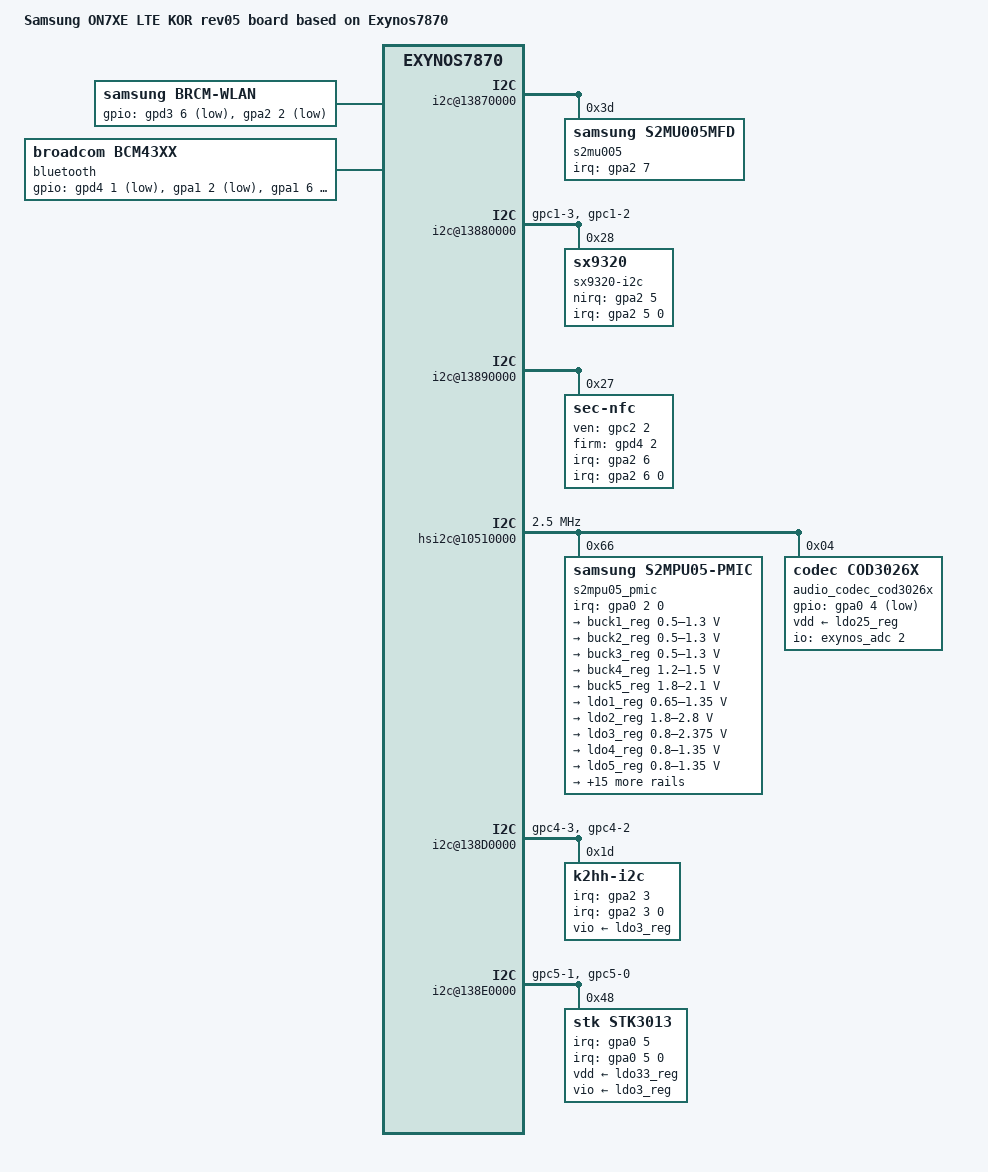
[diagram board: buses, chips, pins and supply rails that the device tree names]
/*
 * SAMSUNG UNIVERSAL8890 board device tree source
 *
 * Copyright (c) 2013 Samsung Electronics Co., Ltd.
 *		http://www.samsung.com
 *
 * This program is free software; you can redistribute it and/or modify
 * it under the terms of the GNU General Public License version 2 as
 * published by the Free Software Foundation.
*/

/dts-v1/;
#include "exynos7870-on7xelte_common.dtsi"
#include "modem-ss315ap-pdata.dtsi"
#include "exynos7870-on7xelte_kor_skt_gpio_05.dtsi"
#include "exynos7870-on7xelte_kor_open_battery_00.dtsi"
#include "exynos7870-on7xelte_fingerprint-sensor_02.dtsi"
#include "exynos7870-on7xelte_kor-tdmb_01.dtsi"

/ {
	model = "Samsung ON7XE LTE KOR rev05 board based on Exynos7870";
        model_info-chip = <7870>;
        model_info-platform = "android";
        model_info-subtype = "samsung";
        model_info-hw_rev = <5>;
        model_info-hw_rev_end = <255>;
	compatible = "samsung, ON7XE LTE KOR SKT 05", "samsung,exynos7870";

	i2c@13870000 {
		status = "okay";
		samsung,i2c-sda-delay = <100>;
		samsung,i2c-max-bus-freq = <400000>;

		s2mu005@3d {
			compatible = "samsung,s2mu005mfd";
			reg = <0x3d>;
			pinctrl-names = "default";
			pinctrl-0 = <&if_pmic_irq>;
			s2mu005,irq-gpio = <&gpa2 7 0>;
			s2mu005,wakeup;

			leds {
				flash-gpio = <&gpd3 2 0>;
				torch-gpio = <&gpd3 3 0>;

				flash_current = <1200>;
				preflash_current = <150>;
				movie_current = <175>; /*unused*/
				torch_current = <75>;
				factory_current = <300>;
				front_torch_current = <50>;

				status = "okay";
				s2mu005-leds1 {
					ledname = "leds-sec1";
					id = <0>;
					timeout = <15>; /* use gpio */
				};

				s2mu005-leds2 {
					ledname = "leds-sec2";
					id = <1>;
					timeout = <15>; /* use gpio */
				};
			};
			
			leds-rgb {
				led_current_tuning_count = <3>; 	/* Number of Supported Panel Tuning */
				led_current_tuning = <
					0x0D6020  	/* LCD ID: Gold Color */
					0x28 0x07 0x20   /* B G R LED MAX current for Normal Mode */
					0x28 0x07 0x20   /* B G R LED MAX current for Low power mode */
					0x0D6120  	/* White Color */
					0x27 0x07 0x1E 
					0x27 0x07 0x1E 
					0x0D6220  	/* Black Color */
					0x5C 0x0D 0x28 
					0x5C 0x0D 0x28
					>;
			};
		};
	};

	i2c@13880000 {
		samsung,i2c-sda-delay = <100>;
		samsung,i2c-max-bus-freq = <400000>;
		#address-cells = <1>;
		#size-cells = <0>;
		status = "okay";
		pinctrl-names = "default";
		pinctrl-0 = <&grip_i2c>;
		sx9320-i2c@28 {
			compatible = "sx9320";
			reg = <0x28>;
			status = "okay";
			pinctrl-names = "default";
			pinctrl-0 = <&grip_irq>;
			interrupt-parent = <&gpa2>;
			interrupts = <5 0 0>;

			/* only phase 3 enable */
			sx9320,phen = <0x03>;
			sx9320,nirq-gpio = <&gpa2 5 0x00>;
			sx9320,gain = <0x01>;
			sx9320,again = <0x08>;
			sx9320,scan_period = <0x16>;
			sx9320,range = <0x00>;
			sx9320,sampling_freq = <0x08>;
			sx9320,resolution = <0x04>;
			sx9320,rawfilt = <0x01>;
			sx9320,hyst = <0x02>;
			sx9320,avgposfilt = <0x03>;
			sx9320,avgnegfilt = <0x01>;
			sx9320,avgthresh = <0x20>;
			sx9320,normal_thd = <0x2c>;
		};
	};
	
	i2c@13890000{
		samsung,i2c-sda-delay = <100>;
		samsung,i2c-max-bus-freq = <300000>;
		status = "okay";
		#address-cells = <1>;
		#size-cells = <0>;

		sec-nfc@27 {
			compatible = "sec-nfc";
			reg = <0x27>;
			interrupts = <6 0 0>;
			interrupt-parent = <&gpa2>;
			sec-nfc,ven-gpio = <&gpc2 2 0x2>;
			sec-nfc,firm-gpio = <&gpd4 2 0>;
			sec-nfc,irq-gpio = <&gpa2 6 0>;
			clkctrl-reg = <0x1048600C>;
			sec-nfc,nfc_clkreq = <&gpc2 3 0x2>;
			sec-nfc,pvdd_en = <&gpd2 1 0>;
			sec-nfc,check_nfc = <&gpd1 2 0x0>;
			pinctrl-names = "default";
			pinctrl-0 = <&nfc_n5_firm &nfc_n5_clk_req &nfc_pd &nfc_int &ese_pvdd_en &nfc_pvdd_en &nfc_det>;
		};
	};

	but_zones: but_zones {
		#list-but-cells = <3>;
	};

	hsi2c@10510000 {
		status = "okay";
		samsung,hs-mode;
		clock-frequency = <2500000>;
		samsung,hsi2c-batcher;
		#address-cells = <1>;
		#size-cells = <0>;

		s2mpu05_pmic@66 {
			compatible = "samsung,s2mpu05-pmic";
			reg = <0x66>;
			ten-bit-address;
			interrupts = <2 0 0>;
			interrupt-parent = <&gpa0>;
			pinctrl-names = "default";
			pinctrl-0 = <&pmic_irq &pm_wrsti>;
			g3d_en = <1>; /* 1 : enable , 0 : disable */
			buck2en_pin = "etc1-3";
			buck2en_addr = "139B0080.pinctrl";
			/* RTC: wtsr/smpl */
			wtsr_en = <1>; /* enable */
			smpl_en = <1>; /* enable */
			wtsr_timer_val = <3>;   /* 1000ms */
			smpl_timer_val = <0>;   /* 100ms */
			check_jigon = <0>; /* do not check jigon */
			/* RTC: If it's first boot, reset rtc to 1/1/2016 12:00:00(Fri) */
			init_time,sec = <0>;
			init_time,min = <0>;
			init_time,hour = <12>;
			init_time,mday = <1>;
			init_time,mon = <0>;
			init_time,year = <116>;
			init_time,wday = <5>;

			regulators {
				buck1_reg: BUCK1 {
					regulator-name = "BUCK1";
					regulator-min-microvolt = <500000>;
					regulator-max-microvolt = <1300000>;
					regulator-always-on;
					regulator-boot-on;
					regulator-ramp-delay = <12000>;
					regulator-initial-mode = <1>;
					regulator-expected-consumer = <2>;
				};

				buck2_reg: BUCK2 {
					regulator-name = "BUCK2";
					regulator-min-microvolt = <500000>;
					regulator-max-microvolt = <1300000>;
					regulator-always-on;
					regulator-boot-on;
					regulator-ramp-delay = <12000>;
					regulator-initial-mode = <2>;		/* MIF mode */
					regulator-expected-consumer = <4>;
				};

				buck3_reg: BUCK3 {
					regulator-name = "BUCK3";
					regulator-min-microvolt = <500000>;
					regulator-max-microvolt = <1300000>;
					regulator-always-on;
					regulator-boot-on;
					regulator-ramp-delay = <12000>;
					regulator-initial-mode = <2>;
				};

				buck4_reg: BUCK4 {
					regulator-name = "BUCK4";
					regulator-min-microvolt = <1200000>;
					regulator-max-microvolt = <1500000>;
					regulator-always-on;
					regulator-boot-on;
					regulator-ramp-delay = <12000>;
					regulator-initial-mode = <2>;
				};

				buck5_reg: BUCK5 {
					regulator-name = "BUCK5";
					regulator-min-microvolt = <1800000>;
					regulator-max-microvolt = <2100000>;
					regulator-always-on;
					regulator-boot-on;
					regulator-ramp-delay = <12000>;
					regulator-initial-mode = <2>;
				};

				ldo1_reg: LDO1 {
					regulator-name = "vdd_ldo1";
					regulator-min-microvolt = <650000>;
					regulator-max-microvolt = <1350000>;
					regulator-always-on;
					regulator-boot-on;
					regulator-ramp-delay = <12000>;
					regulator-initial-mode = <3>;
				};

				ldo2_reg: LDO2 {
					regulator-name = "vqmmc";
					regulator-min-microvolt = <1800000>;
					regulator-max-microvolt = <2800000>;
					regulator-ramp-delay = <12000>;
					regulator-initial-mode = <0>;
				};

				ldo3_reg: LDO3 {
					regulator-name = "vdd_ldo3";
					regulator-min-microvolt = <800000>;
					regulator-max-microvolt = <2375000>;
					regulator-boot-on;
					regulator-always-on;
					regulator-ramp-delay = <12000>;
					regulator-initial-mode = <3>;
				};

				ldo4_reg: LDO4 {
					regulator-name = "vdd_ldo4";
					regulator-min-microvolt = <800000>;
					regulator-max-microvolt = <1350000>;
					regulator-boot-on;
					regulator-always-on;
					regulator-ramp-delay = <12000>;
					regulator-initial-mode = <1>;
				};

				ldo5_reg: LDO5 {
					regulator-name = "vdd_ldo5";
					regulator-min-microvolt = <800000>;
					regulator-max-microvolt = <1350000>;
					regulator-boot-on;
					regulator-always-on;
					regulator-ramp-delay = <12000>;
					regulator-initial-mode = <3>;
				};

				ldo6_reg: LDO6 {
					regulator-name = "vdd_ldo6";
					regulator-min-microvolt = <800000>;
					regulator-max-microvolt = <1350000>;
					regulator-boot-on;
					regulator-always-on;
					regulator-ramp-delay = <12000>;
					regulator-initial-mode = <1>;
				};

				ldo7_reg: LDO7 {
					regulator-name = "vdd_ldo7";
					regulator-min-microvolt = <800000>;
					regulator-max-microvolt = <2375000>;
					regulator-boot-on;
					regulator-always-on;
					regulator-ramp-delay = <12000>;
					regulator-initial-mode = <1>;
				};

				ldo8_reg: LDO8 {
					regulator-name = "vdd_ldo8";
					regulator-min-microvolt = <1800000>;
					regulator-max-microvolt = <3375000>;
					regulator-boot-on;
					regulator-always-on;
					regulator-ramp-delay = <12000>;
					regulator-initial-mode = <1>;
				};

				ldo9_reg: LDO9 {
					regulator-name = "vdd_ldo9";
					regulator-min-microvolt = <650000>;
					regulator-max-microvolt = <1350000>;
					regulator-always-on;
					regulator-ramp-delay = <12000>;
					regulator-initial-mode = <1>;
				};

				ldo10_reg: LDO10 {
					regulator-name = "vdd_ldo10";
					regulator-min-microvolt = <650000>;
					regulator-max-microvolt = <1350000>;
					regulator-always-on;
					regulator-ramp-delay = <12000>;
					regulator-initial-mode = <1>;
				};

				ldo25_reg: LDO25 {
					regulator-name = "vdd_ldo25";
					regulator-min-microvolt = <800000>;
					regulator-max-microvolt = <2375000>;
					regulator-ramp-delay = <12000>;
					regulator-initial-mode = <1>;
				};

				ldo26_reg: LDO26 {
					regulator-name = "vemmc";
					regulator-min-microvolt = <1800000>;
					regulator-max-microvolt = <3375000>;
					regulator-boot-on;
					regulator-ramp-delay = <12000>;
					regulator-initial-mode = <3>;
				};

				ldo27_reg: LDO27 {
					regulator-name = "vqemmc";
					regulator-min-microvolt = <800000>;
					regulator-max-microvolt = <2375000>;
					regulator-boot-on;
					regulator-ramp-delay = <12000>;
					regulator-initial-mode = <3>;
				};

				ldo29_reg: LDO29 {
					regulator-name = "VDD_CAM_AF_2P8";
					regulator-min-microvolt = <2800000>;
					regulator-max-microvolt = <2800000>;
					regulator-initial-mode = <0>;
				};

				ldo30_reg: LDO30 {
					regulator-name = "LCD_1P8";
					regulator-min-microvolt = <1800000>;
					regulator-max-microvolt = <1800000>;
					regulator-boot-on;
					regulator-ramp-delay = <12000>;
					regulator-initial-mode = <3>;
				};

				ldo31_reg: LDO31 {
					regulator-name = "vdd_ldo31";
					regulator-min-microvolt = <2800000>;
					regulator-max-microvolt = <2800000>;
					regulator-boot-on;
					regulator-always-on;
					regulator-ramp-delay = <12000>;
					regulator-initial-mode = <3>;
				};

				ldo32_reg: LDO32 {
					regulator-name = "VDD_MOTOR_3.3";
					regulator-min-microvolt = <3300000>;
					regulator-max-microvolt = <3300000>;
					regulator-ramp-delay = <12000>;
				};

				ldo33_reg: LDO33 {
					regulator-name = "vdd_sensor_3p3";
					regulator-min-microvolt = <3300000>;
					regulator-max-microvolt = <3300000>;
					regulator-ramp-delay = <12000>;
					regulator-initial-mode = <3>;
				};

				ldo34_reg: LDO34 {
					regulator-name = "touchkey_3p0";
					regulator-min-microvolt = <3000000>;
					regulator-max-microvolt = <3000000>;
					regulator-ramp-delay = <12000>;
					regulator-initial-mode = <1>;
					regulator-boot-on;
				};

				ldo35_reg: LDO35 {
					regulator-name = "VDD_CAM_SENSOR_A2P8";
					regulator-min-microvolt = <2800000>;
					regulator-max-microvolt = <2800000>;
					regulator-initial-mode = <0>;
				};
			};
		};

		audio_codec_cod3026x: cod3026x@04 {
			compatible = "codec,cod3026x";
			reg = <0x04>;
			ten-bit-address;
			vdd-supply = <&ldo25_reg>;
			pinctrl-names = "default";
			pinctrl-0 = <&cod3026_irq>;
			interrupt-parent = <&gpa0>;
			gpios = <&gpa0 4 0xf>;
			mic-bias1-voltage = <1>;
			mic-bias2-voltage = <1>;
			mic-bias-ldo-voltage = <3>;
			use-det-adc-mode;
			io-channels = <&exynos_adc 2>;
			io-channel-names = "adc-jack";
			#io-channel-cells = <1>;
			io-channel-ranges;
			but-zones-list = <&but_zones 226 0 200>, /* send/end */
					<&but_zones 582 201 290>, /* google */
					<&but_zones 115 291 496>, /* vol up */
					<&but_zones 114 497 1000>; /* vol down */
			mic-adc-range = <1350>;
		};
	};

	wlan {
		compatible = "samsung,brcm-wlan";
		gpios = <&gpd3 6 0x1 /* WLAN_EN */
		&gpa2 2 0x1 /* WLAN HOST WAKE GPIO_0 */>;
		pinctrl-names = "default";
		pinctrl-0 = <&cfg_wlanen &cfg_wlanhostwake>;
		status = "okay";
	};


	bluetooth {
		compatible = "broadcom,bcm43xx";
		gpios = <&gpd4 1 0x1	/*BT_EN*/
                         &gpa1 2 0x1	/*BT_WAKE*/
                         &gpa1 6 0xF	/*BT_HOST_WAKE*/ >;
		pinctrl-names = "default";
		pinctrl-0=<&bt_hostwake &bt_btwake &bt_en>;
		status = "okay";
	};

	pinctrl@139F0000 {
		acc_int: acc_int {
			samsung,pins = "gpa2-3";
			samsung,pin-function = <0xf>;
			samsung,pin-pud = <0>;
			samsung,pin-drv = <0>;
		};

		prox_int: prox_int {
			samsung,pins = "gpa0-5";
			samsung,pin-function = <0xf>;
			samsung,pin-pud = <0>;
			samsung,pin-drv = <0>;
		};

		grip_irq: grip_irq {
			samsung,pins = "gpa2-5";
			samsung,pin-function = <0xf>;
			samsung,pin-pud = <0>;
			samsung,pin-drv = <0>;
		};

		cfg_wlanhostwake: cfg-wlanhostwake {
			samsung,pins = "gpa2-2";
			samsung,pin-function = <0>;
			samsung,pin-pud = <1>;
		};
	};

	pinctrl@13750000 {
		sd1_bus1: sd1-bus-width1 {
			samsung,pin-pud = <3>;
		};

		sd1_bus4: sd1-bus-width4 {
			samsung,pin-pud = <3>;
		};

	};

	pinctrl@139B0000 {
		sensor_i2c: sensor_i2c {
			samsung,pins = "gpc4-3", "gpc4-2";
			samsung,pin-function = <2>;
			samsung,pin-pud = <0>;
		};

		proxy_i2c: proxy_i2c {
			samsung,pins = "gpc5-1", "gpc5-0";
			samsung,pin-function = <2>;
			samsung,pin-pud = <0>;
		};

		grip_i2c: grip_i2c-bus {
			samsung,pins = "gpc1-3", "gpc1-2";
			samsung,pin-function = <2>;
			samsung,pin-pud = <0>;
		};

		cfg_wlanen: cfg-wlanen  {       /* WLAN_EN */
			samsung,pins = "gpd3-6";
			samsung,pin-function = <1>;
			samsung,pin-pud = <0>;
			samsung,pin-drv = <3>;
			samsung,pin-con-pdn = <3>;
			samsung,pin-pud-pdn = <0>;
			samsung,pin-val = <0>;
		};

		nfc_det: nfc-det {
			samsung,pins = "gpd1-2";
			samsung,pin-function = <0>;
			samsung,pin-pud = <0>;
		};		
	};

	i2c@138D0000 {
		samsung,i2c-sda-delay = <100>;
		samsung,i2c-max-bus-freq = <400000>;
		status = "okay";
		#address-cells = <1>;
		#size-cells = <0>;
		pinctrl-names = "default";
		pinctrl-0 = <&sensor_i2c>;

		k2hh-i2c@1D {
			compatible = "k2hh-i2c";
			reg = <0x1D>;
			pinctrl-names = "default";
			pinctrl-0 = <&acc_int>;
			interrupt-parent = <&gpa2>;
			interrupts = <3 0 0>;
			k2hh,irq_gpio = <&gpa2 3 0>;
			k2hh,vio-supply = <&ldo3_reg>;
			k2hh,axis_map_x = <0>;
			k2hh,axis_map_y = <1>;
			k2hh,axis_map_z = <2>;
			k2hh,negate_x = <1>;
			k2hh,negate_y = <0>;
			k2hh,negate_z = <0>;
			k2hh,poll_interval = <100>;
			k2hh,min_interval = <2>;
		};
	};

	i2c@138E0000 {
		samsung,i2c-sda-delay = <100>;
		samsung,i2c-max-bus-freq = <400000>;
		status = "okay";
		#address-cells = <1>;
		#size-cells = <0>;
		pinctrl-names = "default";
		pinctrl-0 = <&proxy_i2c>;

		stk3013@48 {
			compatible = "stk,stk3013";
			reg = <0x48>;
			interrupt-parent = <&gpa0>;
			interrupts = <5 0 0>;
			pinctrl-names = "default";
			pinctrl-0 = <&prox_int>;
			stk,vdd-supply = <&ldo33_reg>;
			stk,vio-supply = <&ldo3_reg>;
			stk,irq-gpio = <&gpa0 5 0x00>;
			stk,state-reg = <0x2d>;
			stk,psctrl-reg = <0x71>;
			stk,alsctrl-reg = <0x2A>;
			stk,ledctrl-reg = <0xBF>;
			stk,wait-reg = <0x03>;
			stk,ps-thd-h = <17>;
			stk,ps-thd-l = <11>;
			stk,ps-cancel-thd-h = <10>;
			stk,ps-cancel-thd-l = <7>;
			stk,ps-cal-skip-adc = <10>;
			stk,ps-cal-fail-adc = <20>;
			stk,ps-default-offset = <3>;
			stk,transmittance = <500>;
		};
	};

	mif_pdata {
		gpios = <&gpd2 4 0x0>,
		       <&gpd2 5 0x0>,
		       <&gpd3 0 0x0>,
		       <&gpd3 1 0x0>;
	};
	decon_fb@14830000 {
		psr_mode = <0>;		/* 0: video mode, 1: DP command mode, 2: MIPI command mode */
		trig_mode = <1>;	/* 0: hw trigger, 1: sw trigger */
		disp-pll-clk = <155000000>;
		disp-vclk = <155000000>;
		disp-eclk = <200000000>;
		disp-dvfs = <200000>;
		status = "okay";
	};
	td4300_fhd: td4300_fhd {
		mode = <0>;
		resolution = <1080 1920>;
		size = <68 121>;
		ddi_type = <0>;
		timing,refresh = <60>;
		/* HBP HFP HSW */
		timing,h-porch = <35 200 4>;
		/* VBP VFP VSW */
		timing,v-porch = <4 21 2>;
		timing,dsi-hs-clk = <936>;
		timing,dsi-escape-clk = <16>;
		timing,pms = <1 72 1>;
	};
};
